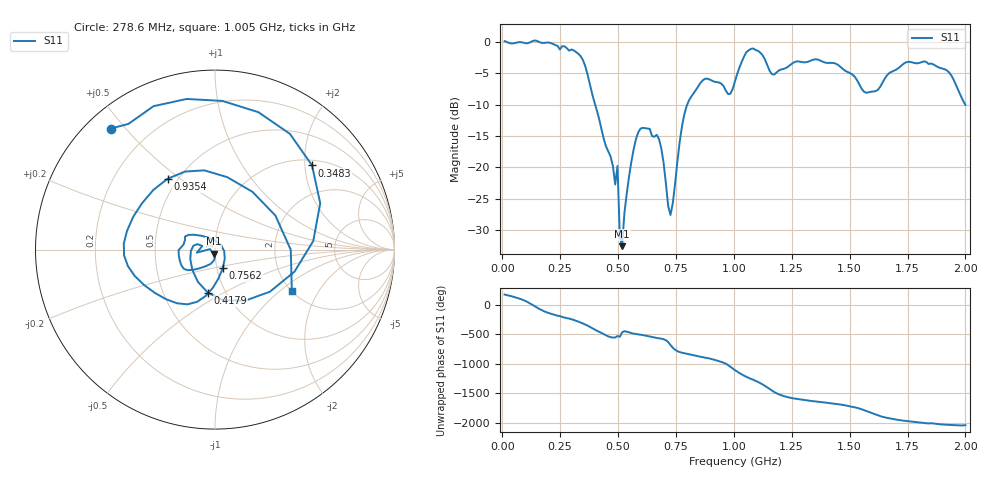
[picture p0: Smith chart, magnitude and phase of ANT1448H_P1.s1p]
!Created with skrf (http://scikit-rf.org).
# Hz S RI R 50.0
!freq ReS11 ImS11
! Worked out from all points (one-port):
!   201 points, 10 MHz to 2 GHz, reference 50 ohm
!   lowest |S11| = -32.5 dB at 517.5 MHz (marker M1), VSWR 1.05, Z = 49.2 - j2.21 ohm
!   |S11| at or under -10 dB: 401.1 MHz to 798.7 MHz (397.6 MHz wide, 66.3 % of centre); 1.999438 GHz to end of sweep
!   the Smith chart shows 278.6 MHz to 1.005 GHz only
!   S11 on the Smith chart (normalised r, x): 278.6 MHz: 0.07, +0.46; 348.3 MHz: 1.13, +2.18; 417.9 MHz: 0.83, -0.42; 756.2 MHz: 1.07, -0.22; 935.4 MHz: 0.44, +0.45; 1.005 GHz: 2.01, -1.21
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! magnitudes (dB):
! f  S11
! 10 MHz  0.1
! 258.8 MHz  -0.7
! 278.6 MHz  -1.0
! 348.3 MHz  -2.9
! 417.9 MHz  -12.2
! 487.6 MHz  -22.7
! 497.6 MHz  -19.8
! 507.5 MHz  -30.9
! 517.5 MHz  -32.5
! 527.4 MHz  -27.3
! 557.2 MHz  -19.1
! 597 MHz  -13.8
! 676.6 MHz  -15.5
! 726.4 MHz  -27.6
! 756.2 MHz  -19.0
! 806 MHz  -9.3
! 875.6 MHz  -5.9
! 935.4 MHz  -6.5
! 975.1 MHz  -8.3
! 1.005 GHz  -6.3
! 1.075 GHz  -1.1
! 1.164 GHz  -5.1
! 1.254 GHz  -3.4
! 1.502 GHz  -5.0
! 1.612 GHz  -7.9
! 1.751 GHz  -3.2
! 1.92 GHz  -4.6
! 2 GHz  -10.0
